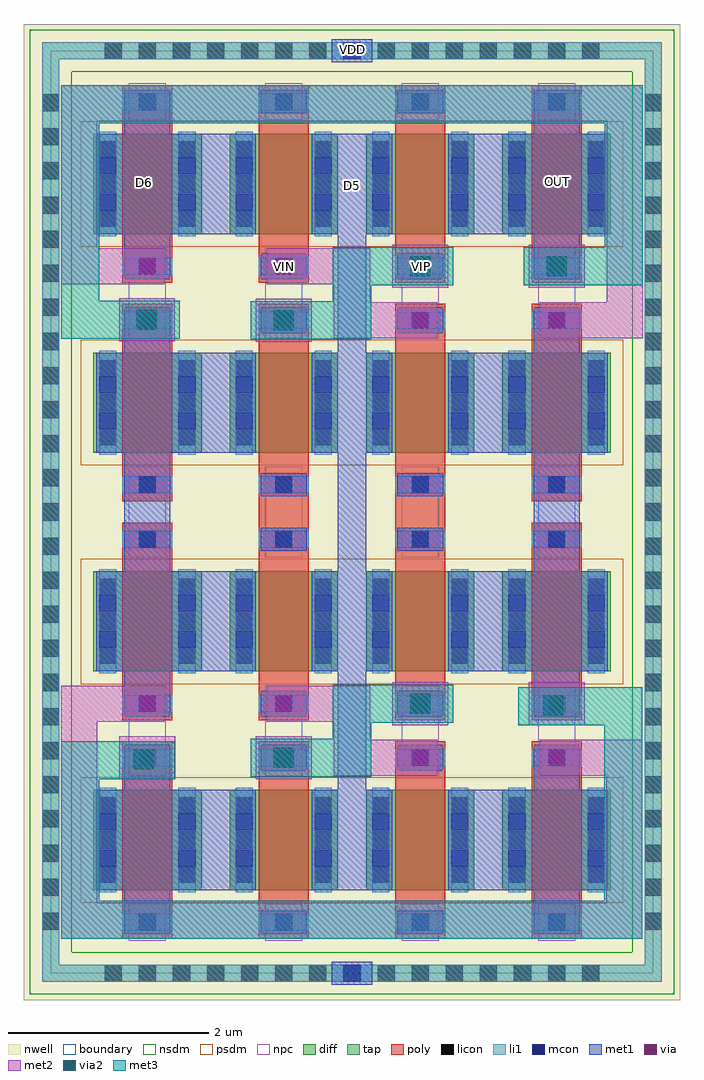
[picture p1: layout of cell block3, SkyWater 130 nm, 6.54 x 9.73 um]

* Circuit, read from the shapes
.subckt block3 D5 D6 OUT VDD VIN VIP
XM1 D6 D6 D6 VDD sky130_fd_pr__pfet_01v8 w=1 l=0.5 m=4
XM2 OUT OUT OUT VDD sky130_fd_pr__pfet_01v8 w=1 l=0.5 m=4
XM3 D5 VIN D6 VDD sky130_fd_pr__pfet_01v8 w=1 l=0.5 m=4
XM4 D5 VIP OUT VDD sky130_fd_pr__pfet_01v8 w=1 l=0.5 m=4
.ends

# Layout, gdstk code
import gdstk
lib = gdstk.Library(unit=1e-6, precision=1e-09)
def R(c, l, rs):  # rectangles x0, y0, x1, y1
    for r in rs: c.add(gdstk.rectangle(r[:2], r[2:], *l))
def A(c, l, x, y, w, h, nx, ny, dx, dy):  # array of equal rectangles
    R(c, l, [(x+i*dx, y+j*dy, x+i*dx+w, y+j*dy+h) for i in range(nx) for j in range(ny)])
nwell = (64, 20)
diff = (65, 20)
tap = (65, 44)
poly = (66, 20)
licon = (66, 44)
li1 = (67, 20)
mcon = (67, 44)
met1 = (68, 20)
via = (68, 44)
met2 = (69, 20)
via2 = (69, 44)
met3 = (70, 20)
nsdm = (93, 44)
psdm = (94, 20)
npc = (95, 20)
boundary = (235, 4)

sky130_fd_pr__pfet_01v8_ = lib.new_cell('sky130_fd_pr__pfet_01v8_BHMD29')
R(sky130_fd_pr__pfet_01v8_, nwell, [(-3.27,-4.865,3.27,4.865)])
A(sky130_fd_pr__pfet_01v8_, diff, -2.58, -3.77, 1.08, 1, 4, 4, 1.36, 2.18)
R(sky130_fd_pr__pfet_01v8_, tap, [(-3.09,-4.685,3.09,-4.515), (-3.09,-4.515,-2.92,4.515), (2.92,-4.515,3.09,4.515), (-3.09,4.515,3.09,4.685)])
A(sky130_fd_pr__pfet_01v8_, poly, -2.29, -4.255, 0.5, 1.97, 4, 4, 1.36, 2.18)
A(sky130_fd_pr__pfet_01v8_, licon, -2.465, -4.685, 0.17, 0.17, 15, 2, 0.34, 9.2)
A(sky130_fd_pr__pfet_01v8_, licon, -2.125, -4.175, 0.17, 0.17, 4, 2, 1.36, 1.64)
A(sky130_fd_pr__pfet_01v8_, licon, -3.09, -4.165, 0.17, 0.17, 1, 25, 0, 0.34)
A(sky130_fd_pr__pfet_01v8_, licon, 2.92, -4.165, 0.17, 0.17, 1, 25, 0, 0.34)
A(sky130_fd_pr__pfet_01v8_, licon, -2.52, -3.695, 0.17, 0.17, 1, 3, 0, 0.34)
A(sky130_fd_pr__pfet_01v8_, licon, -1.73, -3.695, 0.17, 0.17, 1, 3, 0, 0.34)
A(sky130_fd_pr__pfet_01v8_, licon, -1.16, -3.695, 0.17, 0.17, 1, 3, 0, 0.34)
A(sky130_fd_pr__pfet_01v8_, licon, -0.37, -3.695, 0.17, 0.17, 1, 3, 0, 0.34)
A(sky130_fd_pr__pfet_01v8_, licon, 0.2, -3.695, 0.17, 0.17, 1, 3, 0, 0.34)
A(sky130_fd_pr__pfet_01v8_, licon, 0.99, -3.695, 0.17, 0.17, 1, 3, 0, 0.34)
A(sky130_fd_pr__pfet_01v8_, licon, 1.56, -3.695, 0.17, 0.17, 1, 3, 0, 0.34)
A(sky130_fd_pr__pfet_01v8_, licon, 2.35, -3.695, 0.17, 0.17, 1, 3, 0, 0.34)
A(sky130_fd_pr__pfet_01v8_, licon, -2.125, -1.995, 0.17, 0.17, 4, 2, 1.36, 1.64)
A(sky130_fd_pr__pfet_01v8_, licon, -2.52, -1.515, 0.17, 0.17, 1, 3, 0, 0.34)
A(sky130_fd_pr__pfet_01v8_, licon, -1.73, -1.515, 0.17, 0.17, 1, 3, 0, 0.34)
A(sky130_fd_pr__pfet_01v8_, licon, -1.16, -1.515, 0.17, 0.17, 1, 3, 0, 0.34)
A(sky130_fd_pr__pfet_01v8_, licon, -0.37, -1.515, 0.17, 0.17, 1, 3, 0, 0.34)
A(sky130_fd_pr__pfet_01v8_, licon, 0.2, -1.515, 0.17, 0.17, 1, 3, 0, 0.34)
A(sky130_fd_pr__pfet_01v8_, licon, 0.99, -1.515, 0.17, 0.17, 1, 3, 0, 0.34)
A(sky130_fd_pr__pfet_01v8_, licon, 1.56, -1.515, 0.17, 0.17, 1, 3, 0, 0.34)
A(sky130_fd_pr__pfet_01v8_, licon, 2.35, -1.515, 0.17, 0.17, 1, 3, 0, 0.34)
A(sky130_fd_pr__pfet_01v8_, licon, -2.125, 0.185, 0.17, 0.17, 4, 2, 1.36, 1.64)
A(sky130_fd_pr__pfet_01v8_, licon, -2.52, 0.665, 0.17, 0.17, 1, 3, 0, 0.34)
A(sky130_fd_pr__pfet_01v8_, licon, -1.73, 0.665, 0.17, 0.17, 1, 3, 0, 0.34)
A(sky130_fd_pr__pfet_01v8_, licon, -1.16, 0.665, 0.17, 0.17, 1, 3, 0, 0.34)
A(sky130_fd_pr__pfet_01v8_, licon, -0.37, 0.665, 0.17, 0.17, 1, 3, 0, 0.34)
A(sky130_fd_pr__pfet_01v8_, licon, 0.2, 0.665, 0.17, 0.17, 1, 3, 0, 0.34)
A(sky130_fd_pr__pfet_01v8_, licon, 0.99, 0.665, 0.17, 0.17, 1, 3, 0, 0.34)
A(sky130_fd_pr__pfet_01v8_, licon, 1.56, 0.665, 0.17, 0.17, 1, 3, 0, 0.34)
A(sky130_fd_pr__pfet_01v8_, licon, 2.35, 0.665, 0.17, 0.17, 1, 3, 0, 0.34)
A(sky130_fd_pr__pfet_01v8_, licon, -2.125, 2.365, 0.17, 0.17, 4, 2, 1.36, 1.64)
A(sky130_fd_pr__pfet_01v8_, licon, -2.52, 2.845, 0.17, 0.17, 1, 3, 0, 0.34)
A(sky130_fd_pr__pfet_01v8_, licon, -1.73, 2.845, 0.17, 0.17, 1, 3, 0, 0.34)
A(sky130_fd_pr__pfet_01v8_, licon, -1.16, 2.845, 0.17, 0.17, 1, 3, 0, 0.34)
A(sky130_fd_pr__pfet_01v8_, licon, -0.37, 2.845, 0.17, 0.17, 1, 3, 0, 0.34)
A(sky130_fd_pr__pfet_01v8_, licon, 0.2, 2.845, 0.17, 0.17, 1, 3, 0, 0.34)
A(sky130_fd_pr__pfet_01v8_, licon, 0.99, 2.845, 0.17, 0.17, 1, 3, 0, 0.34)
A(sky130_fd_pr__pfet_01v8_, licon, 1.56, 2.845, 0.17, 0.17, 1, 3, 0, 0.34)
A(sky130_fd_pr__pfet_01v8_, licon, 2.35, 2.845, 0.17, 0.17, 1, 3, 0, 0.34)
A(sky130_fd_pr__pfet_01v8_, li1, -2.29, -4.175, 0.5, 0.17, 4, 2, 1.36, 1.64)
A(sky130_fd_pr__pfet_01v8_, li1, -2.52, -3.79, 0.17, 1.04, 1, 4, 0, 2.18)
A(sky130_fd_pr__pfet_01v8_, li1, -1.73, -3.79, 0.17, 1.04, 1, 4, 0, 2.18)
A(sky130_fd_pr__pfet_01v8_, li1, -1.16, -3.79, 0.17, 1.04, 1, 4, 0, 2.18)
A(sky130_fd_pr__pfet_01v8_, li1, -0.37, -3.79, 0.17, 1.04, 1, 4, 0, 2.18)
A(sky130_fd_pr__pfet_01v8_, li1, 0.2, -3.79, 0.17, 1.04, 1, 4, 0, 2.18)
A(sky130_fd_pr__pfet_01v8_, li1, 0.99, -3.79, 0.17, 1.04, 1, 4, 0, 2.18)
A(sky130_fd_pr__pfet_01v8_, li1, 1.56, -3.79, 0.17, 1.04, 1, 4, 0, 2.18)
A(sky130_fd_pr__pfet_01v8_, li1, 2.35, -3.79, 0.17, 1.04, 1, 4, 0, 2.18)
A(sky130_fd_pr__pfet_01v8_, li1, -2.29, -1.995, 0.5, 0.17, 4, 2, 1.36, 1.64)
A(sky130_fd_pr__pfet_01v8_, li1, -2.29, 0.185, 0.5, 0.17, 4, 2, 1.36, 1.64)
A(sky130_fd_pr__pfet_01v8_, li1, -2.29, 2.365, 0.5, 0.17, 4, 2, 1.36, 1.64)
R(sky130_fd_pr__pfet_01v8_, li1, [(-3.09,-4.685,3.09,-4.515), (-3.09,-4.515,-2.92,4.515), (2.92,-4.515,3.09,4.515), (-3.09,4.515,3.09,4.685)])
A(sky130_fd_pr__pfet_01v8_, mcon, -2.125, -4.175, 0.17, 0.17, 4, 2, 1.36, 1.64)
A(sky130_fd_pr__pfet_01v8_, mcon, -2.125, -1.995, 0.17, 0.17, 4, 2, 1.36, 1.64)
A(sky130_fd_pr__pfet_01v8_, mcon, -2.125, 0.185, 0.17, 0.17, 4, 2, 1.36, 1.64)
A(sky130_fd_pr__pfet_01v8_, mcon, -2.125, 2.365, 0.17, 0.17, 4, 2, 1.36, 1.64)
R(sky130_fd_pr__pfet_01v8_, mcon, [(-2.52,-3.535,-2.35,-3.365), (-1.73,-3.535,-1.56,-3.365), (-1.16,-3.535,-0.99,-3.365), (-0.37,-3.535,-0.2,-3.365), (0.2,-3.535,0.37,-3.365), (0.99,-3.535,1.16,-3.365), (1.56,-3.535,1.73,-3.365), (2.35,-3.535,2.52,-3.365), (-2.52,-3.175,-2.35,-3.005), (-1.73,-3.175,-1.56,-3.005), (-1.16,-3.175,-0.99,-3.005), (-0.37,-3.175,-0.2,-3.005), (0.2,-3.175,0.37,-3.005), (0.99,-3.175,1.16,-3.005), (1.56,-3.175,1.73,-3.005), (2.35,-3.175,2.52,-3.005), (-2.52,-1.355,-2.35,-1.185), (-1.73,-1.355,-1.56,-1.185), (-1.16,-1.355,-0.99,-1.185), (-0.37,-1.355,-0.2,-1.185), (0.2,-1.355,0.37,-1.185), (0.99,-1.355,1.16,-1.185), (1.56,-1.355,1.73,-1.185), (2.35,-1.355,2.52,-1.185), (-2.52,-0.995,-2.35,-0.825), (-1.73,-0.995,-1.56,-0.825), (-1.16,-0.995,-0.99,-0.825), (-0.37,-0.995,-0.2,-0.825), (0.2,-0.995,0.37,-0.825), (0.99,-0.995,1.16,-0.825), (1.56,-0.995,1.73,-0.825), (2.35,-0.995,2.52,-0.825), (-2.52,0.825,-2.35,0.995), (-1.73,0.825,-1.56,0.995), (-1.16,0.825,-0.99,0.995), (-0.37,0.825,-0.2,0.995), (0.2,0.825,0.37,0.995), (0.99,0.825,1.16,0.995), (1.56,0.825,1.73,0.995), (2.35,0.825,2.52,0.995), (-2.52,1.185,-2.35,1.355), (-1.73,1.185,-1.56,1.355), (-1.16,1.185,-0.99,1.355), (-0.37,1.185,-0.2,1.355), (0.2,1.185,0.37,1.355), (0.99,1.185,1.16,1.355), (1.56,1.185,1.73,1.355), (2.35,1.185,2.52,1.355), (-2.52,3.005,-2.35,3.175), (-1.73,3.005,-1.56,3.175), (-1.16,3.005,-0.99,3.175), (-0.37,3.005,-0.2,3.175), (0.2,3.005,0.37,3.175), (0.99,3.005,1.16,3.175), (1.56,3.005,1.73,3.175), (2.35,3.005,2.52,3.175), (-2.52,3.365,-2.35,3.535), (-1.73,3.365,-1.56,3.535), (-1.16,3.365,-0.99,3.535), (-0.37,3.365,-0.2,3.535), (0.2,3.365,0.37,3.535), (0.99,3.365,1.16,3.535), (1.56,3.365,1.73,3.535), (2.35,3.365,2.52,3.535)])
A(sky130_fd_pr__pfet_01v8_, met1, -2.27, -4.205, 0.46, 0.23, 4, 2, 1.36, 1.64)
A(sky130_fd_pr__pfet_01v8_, met1, -2.55, -3.77, 0.23, 1, 1, 4, 0, 2.18)
A(sky130_fd_pr__pfet_01v8_, met1, -1.76, -3.77, 0.23, 1, 1, 4, 0, 2.18)
A(sky130_fd_pr__pfet_01v8_, met1, -1.19, -3.77, 0.23, 1, 1, 4, 0, 2.18)
A(sky130_fd_pr__pfet_01v8_, met1, -0.4, -3.77, 0.23, 1, 1, 4, 0, 2.18)
A(sky130_fd_pr__pfet_01v8_, met1, 0.17, -3.77, 0.23, 1, 1, 4, 0, 2.18)
A(sky130_fd_pr__pfet_01v8_, met1, 0.96, -3.77, 0.23, 1, 1, 4, 0, 2.18)
A(sky130_fd_pr__pfet_01v8_, met1, 1.53, -3.77, 0.23, 1, 1, 4, 0, 2.18)
A(sky130_fd_pr__pfet_01v8_, met1, 2.32, -3.77, 0.23, 1, 1, 4, 0, 2.18)
A(sky130_fd_pr__pfet_01v8_, met1, -2.27, -2.025, 0.46, 0.23, 4, 2, 1.36, 1.64)
A(sky130_fd_pr__pfet_01v8_, met1, -2.27, 0.155, 0.46, 0.23, 4, 2, 1.36, 1.64)
A(sky130_fd_pr__pfet_01v8_, met1, -2.27, 2.335, 0.46, 0.23, 4, 2, 1.36, 1.64)
R(sky130_fd_pr__pfet_01v8_, nsdm, [(-3.215,-4.81,3.215,-4.39), (-3.215,-4.39,-2.795,4.39), (2.795,-4.39,3.215,4.39), (-3.215,4.39,3.215,4.81)])
A(sky130_fd_pr__pfet_01v8_, psdm, -2.705, -3.895, 5.41, 1.25, 1, 4, 0, 2.18)
A(sky130_fd_pr__pfet_01v8_, npc, -2.225, -4.275, 0.37, 0.37, 4, 2, 1.36, 8.18)
A(sky130_fd_pr__pfet_01v8_, npc, -2.225, -2.635, 0.37, 0.91, 4, 3, 1.36, 2.18)
R(sky130_fd_pr__pfet_01v8_, boundary, [(-3.005,-4.6,3.005,4.6)])

block3 = lib.new_cell('block3')
R(block3, poly, [(2.075,2.525,2.575,6.675), (3.435,2.525,3.935,6.675)])
R(block3, li1, [(2.865,-0.085,3.145,0.085), (2.865,9.115,3.145,9.285)])
R(block3, mcon, [(2.92,-0.085,3.09,0.085), (2.92,9.115,3.09,9.285)])
A(block3, met1, 0.455, 0.83, 1.59, 1, 1, 4, 0, 2.18)
A(block3, met1, 2.835, 0.83, 0.34, 1, 1, 3, 0, 2.18)
A(block3, met1, 3.965, 0.83, 1.59, 1, 1, 4, 0, 2.18)
A(block3, met1, 2.865, 1.83, 0.28, 1.18, 1, 3, 0, 2.18)
A(block3, met1, 0.745, 6.625, 0.44, 0.015, 4, 2, 1.36, 0.295)
R(block3, met1, [(2.805,-0.115,3.205,0.115), (0.735,0.395,1.195,0.83), (4.815,0.395,5.275,0.83), (0.735,1.83,1.195,2.265), (4.815,1.83,5.275,2.265), (2.105,2.02,2.545,2.28), (3.465,2.02,3.905,2.28), (0.745,2.265,1.185,2.28), (4.825,2.265,5.265,2.28), (0.745,2.56,1.185,2.575), (2.105,2.56,2.545,2.82), (3.465,2.56,3.905,2.82), (4.825,2.56,5.265,2.575), (0.735,2.575,1.195,3.01), (4.815,2.575,5.275,3.01), (0.735,4.01,1.195,5.19), (4.815,4.01,5.275,5.19), (0.735,6.19,1.195,6.625), (4.815,6.19,5.275,6.625), (2.105,6.38,2.545,6.395), (3.465,6.38,3.905,6.395), (2.095,6.395,2.555,6.625), (3.455,6.395,3.915,6.625), (0.735,6.935,1.195,7.37), (2.095,6.935,2.555,7.165), (3.455,6.935,3.915,7.165), (4.815,6.935,5.275,7.37), (2.105,7.165,2.545,7.18), (3.465,7.165,3.905,7.18), (2.605,7.37,3.405,8.37), (0.735,8.37,1.195,8.805), (4.815,8.37,5.275,8.805), (2.805,9.085,3.205,9.315)])
A(block3, via, 0.89, 2.075, 0.15, 0.15, 4, 2, 1.36, 0.54)
A(block3, via, 0.89, 6.435, 0.15, 0.15, 4, 2, 1.36, 0.54)
R(block3, met2, [(0.105,0.345,5.9,0.705), (0.105,0.705,0.465,2.51), (5.54,0.705,5.9,1.97), (0.685,1.935,1.245,2.365), (2.045,1.935,2.605,2.365), (2.825,1.97,3.855,2.33), (4.875,1.97,5.9,2.33), (2.825,2.33,3.185,2.51), (3.405,2.475,3.965,2.905), (4.765,2.475,5.325,2.905), (0.105,2.51,1.135,2.87), (2.155,2.51,3.185,2.87), (2.045,6.295,2.605,6.725), (0.685,6.3,1.24,6.73), (2.825,6.33,3.855,6.69), (4.875,6.33,5.905,6.69), (2.825,6.69,3.185,6.87), (5.545,6.69,5.905,8.495), (3.405,6.835,3.965,7.265), (4.765,6.835,5.325,7.265), (0.105,6.87,1.135,7.23), (2.155,6.87,3.185,7.23), (0.105,7.23,0.465,8.495), (0.105,8.495,5.905,8.855)])
R(block3, via2, [(0.83,2.035,1.03,2.235), (2.225,2.05,2.425,2.25), (4.91,2.575,5.11,2.775), (3.585,2.59,3.785,2.79), (2.225,6.41,2.425,6.61), (0.86,6.415,1.06,6.615), (3.585,6.95,3.785,7.15), (4.945,6.95,5.145,7.15)])
R(block3, met3, [(0.105,0.345,5.9,0.725), (0.105,0.725,0.485,1.935), (5.52,0.725,5.9,2.475), (0.105,1.935,1.24,2.315), (1.995,1.96,3.195,2.34), (2.815,2.34,3.195,2.5), (4.66,2.475,5.9,2.855), (2.815,2.5,4.015,2.88), (1.995,6.32,3.195,6.7), (0.105,6.325,1.29,6.705), (2.815,6.7,3.195,6.86), (0.105,6.705,0.485,8.475), (2.815,6.86,4.015,7.24), (4.715,6.86,5.905,7.24), (5.525,7.24,5.905,8.475), (0.105,8.475,5.905,8.855)])
block3.add(gdstk.Reference(sky130_fd_pr__pfet_01v8_, (3.005,4.6)))
block3.add(gdstk.Label('D5', (3.01,7.85), layer=68, texttype=5))
block3.add(gdstk.Label('VIN', (2.33,7.05), layer=69, texttype=5))
block3.add(gdstk.Label('VIP', (3.7,7.05), layer=70, texttype=5))
block3.add(gdstk.Label('D6', (0.94,7.885), layer=68, texttype=5))
block3.add(gdstk.Label('OUT', (5.055,7.895), layer=68, texttype=5))
block3.add(gdstk.Label('VDD', (3.005,9.21), layer=68, texttype=5))

lib.write_gds('block3.gds')
